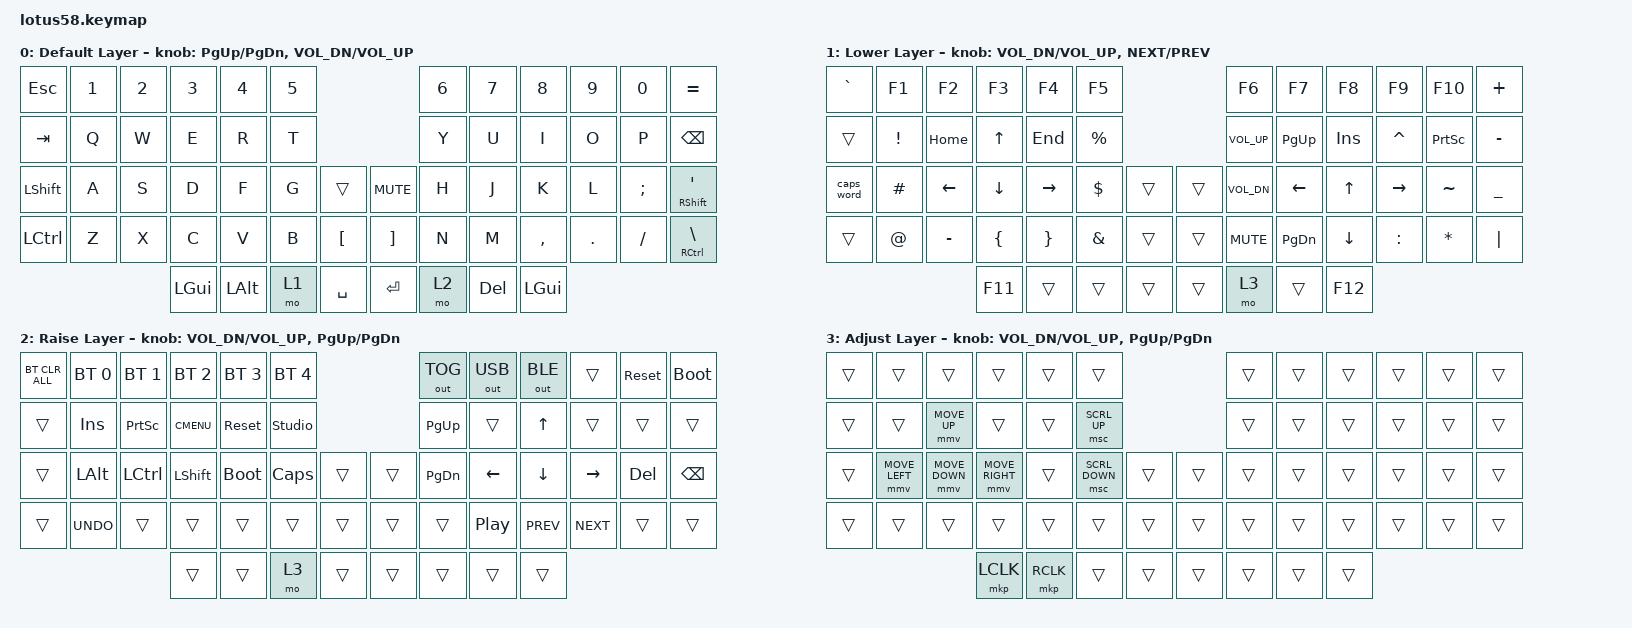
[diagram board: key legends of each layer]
/*
 * Copyright (c) 2022 The ZMK Contributors
 *
 * SPDX-License-Identifier: MIT
 */

#include <behaviors.dtsi>
#include <dt-bindings/zmk/bt.h>
#include <dt-bindings/zmk/keys.h>
#include <dt-bindings/zmk/outputs.h>
#include <dt-bindings/zmk/pointing.h>

#define default_layer 0
#define raise_layer 1
#define lower_layer 2
#define adjust_layer 3
#define extra_layer 4

/*
// Encoders

&sensors { triggers-per-rotation = <30>; };

&left_encoder { steps = <60>; };

&right_encoder { steps = <60>; };

*/
// To get to Adjust layer hold both Lower and Raise together.

/ {
    combos {
        compatible = "zmk,combos";

        combo_dsklg {
            timeout-ms = <100>;
            key-positions = <24 52>;
            layers = <0>;
            bindings = <&kp LGUI>;
        };
    };

    behaviors {
        fofunc: four_ffour {
            compatible = "zmk,behavior-mod-morph";
            #binding-cells = <0>;
            bindings = <&kp N4>, <&kp F4>;

            mods = <(MOD_LALT|MOD_RALT)>;
        };

        sleft: s_left {
            compatible = "zmk,behavior-mod-morph";
            #binding-cells = <0>;
            bindings = <&kp S>, <&kp LEFT>;

            mods = <(MOD_LGUI|MOD_RGUI)>;
        };

        fright: f_right {
            compatible = "zmk,behavior-mod-morph";
            #binding-cells = <0>;
            bindings = <&kp F>, <&kp RIGHT>;

            mods = <(MOD_LGUI|MOD_RGUI)>;
        };
    };

    keymap {
        compatible = "zmk,keymap";

        default_layer {
            display-name = "Default Layer";

            //   ------------------------------------------------------------------------------------------------------------
            //  0|  ESC  |  1  |  2  |  3   |  4   |  5   |                     |  6   |  7    |  8    |  9   |   0   |   =   | 11
            // 12|  TAB  |  Q  |  W  |  E   |  R   |  T   |                     |  Y   |  U    |  I    |  O   |   P   |   [   | 23
            // 24|  SFT  |  A  |  S  |  D   |  F   |  G   |  RESET  |  | RESET  |  H   |  J    |  K    |  L   |   ;   | ' SFT | 37
            // 38|  CTRL |  Z  |  X  |  C   |  V   |  B   |  MUTE   |  | PLAY   |  N   |  M    |  ,    |  .   |   /   | \ CTRL| 51
            // 52                    |ENT RS|  ALT | SPACE|DELETE LW|  |ENTER RS| BSPC |  ] LW | RGUI  |                        59

            bindings = <
&kp ESC    &kp N1  &kp N2  &kp N3    &kp N4    &kp N5                         &kp N6  &kp N7   &kp N8     &kp N9   &kp N0    &kp EQUAL
&kp TAB    &kp Q   &kp W   &kp E     &kp R     &kp T                          &kp Y   &kp U    &kp I      &kp O    &kp P     &kp BSPC
&kp LSHFT  &kp A   &kp S   &kp D     &kp F     &kp G   &trans     &kp C_MUTE  &kp H   &kp J    &kp K      &kp L    &kp SEMI  &mt RSHFT SQT
&kp LCTRL  &kp Z   &kp X   &kp C     &kp V     &kp B   &kp LBKT   &kp RBKT    &kp N   &kp M    &kp COMMA  &kp DOT  &kp FSLH  &mt RCTRL BSLH
                           &kp LGUI  &kp LALT  &mo 1   &kp SPACE  &kp RET     &mo 2   &kp DEL  &kp LGUI
            >;

            sensor-bindings = <&inc_dec_kp PG_UP PG_DN &inc_dec_kp C_VOL_DN C_VOL_UP>;
        };

        lower_layer {
            display-name = "Lower Layer";

            // ------------------------------------------------------------------------------------------------------------
            // | `     |  F1 |  F2 |  F3  |  F4  |  F5  |                   |  F6  |  F7   |  F8   |  F9  |  F10  |  F11  |
            // |       |  !  | HOME|   ^  |  END |  %   |                   | VOL^ |  PGUP |  INS  |  ^   |  PSCR |   -   |
            // |       |  #  |  <- |   v  | ->   |  $   |        |  |       | VOLv |    <- |   ^   |  ->  |   ~   |   _   |
            // |       |  @  |  -  |  (   |  )   |  &   |        |  |       | MUTE |  PGDN |   v   |  :   |   *   |   |   |
            //                     |  F11 |      |      |        |  |       |      |       |  F12  |

            bindings = <
&kp GRAVE   &kp F1    &kp F2     &kp F3    &kp F4     &kp F5                     &kp F6        &kp F7     &kp F8    &kp F9     &kp F10    &kp PLUS
&trans      &kp EXCL  &kp HOME   &kp UP    &kp END    &kp PRCNT                  &kp C_VOL_UP  &kp PG_UP  &kp INS   &kp CARET  &kp PSCRN  &kp MINUS
&caps_word  &kp HASH  &kp LEFT   &kp DOWN  &kp RIGHT  &kp DLLR   &trans  &trans  &kp C_VOL_DN  &kp LEFT   &kp UP    &kp RIGHT  &kp TILDE  &kp UNDER
&trans      &kp AT    &kp MINUS  &kp LBRC  &kp RBRC   &kp AMPS   &trans  &trans  &kp C_MUTE    &kp PG_DN  &kp DOWN  &kp COLON  &kp STAR   &kp PIPE
                                 &kp F11   &trans     &trans     &trans  &trans  &mo 3         &trans     &kp F12
            >;

            sensor-bindings = <&inc_dec_kp C_VOL_DN C_VOL_UP &inc_dec_kp C_NEXT C_PREV>;
        };

        raise_layer {
            display-name = "Raise Layer";

            // ------------------------------------------------------------------------------------------------------------
            // |BTCLR| BT1  | BT2  |  BT3  |  BT4  |  BT5 |                |OUTTOG|OUTUSB| OUTBT |      | RESET | FLASH |
            // |     | INS  | PSCR | GUI   | RESET |      |                | PGUP |      |   ^   |      |       |       |
            // |     | ALT  | CTRL | SHIFT | FLASH | CAPS |      |  |      | PGDN |   <- |   v   |  ->  |  DEL  | BSPC  |
            // |     | UNDO | CUT  | COPY  | PASTE |      |      |  |      |      |  |>  |  <|<| | |>|> |       |       |
            //                     |       |       |      |      |  |      |      |      |       |

            bindings = <
&bt BT_CLR_ALL  &bt BT_SEL 0  &bt BT_SEL 1  &bt BT_SEL 2  &bt BT_SEL 3  &bt BT_SEL 4                    &out OUT_TOG  &out OUT_USB  &out OUT_BLE  &trans      &sys_reset  &bootloader
&trans          &kp INS       &kp PSCRN     &kp K_CMENU   &sys_reset    &studio_unlock                  &kp PG_UP     &trans        &kp UP        &trans      &trans      &trans
&trans          &kp LALT      &kp LCTRL     &kp LSHFT     &bootloader   &kp CLCK        &trans  &trans  &kp PG_DN     &kp LEFT      &kp DOWN      &kp RIGHT   &kp DEL     &kp BSPC
&trans          &kp K_UNDO    &trans        &trans        &trans        &trans          &trans  &trans  &trans        &kp C_PP      &kp C_PREV    &kp C_NEXT  &trans      &trans
                                            &trans        &trans        &mo 3           &trans  &trans  &trans        &trans        &trans
            >;

            sensor-bindings = <&inc_dec_kp C_VOL_DN C_VOL_UP &inc_dec_kp PG_UP PG_DN>;
        };

        adjust_layer {
            display-name = "Adjust Layer";

            // ------------------------------------------------------------------------------------------------------------
            // |BTCLR| BT1  | BT2  |  BT3  |  BT4  |  BT5 |                |OUTTOG|OUTUSB| OUTBT |      | RESET | FLASH |
            // |     | INS  | PSCR | GUI   | RESET |      |                | PGUP |      |   ^   |      |       |       |
            // |     | ALT  | CTRL | SHIFT | FLASH | CAPS |      |  |      | PGDN |   <- |   v   |  ->  |  DEL  | BSPC  |
            // |     | UNDO | CUT  | COPY  | PASTE |      |      |  |      |      |  |>  |  <|<| | |>|> |       |       |
            //                     |       |       |      |      |  |      |      |      |       |

            bindings = <
&trans  &trans          &trans          &trans           &trans     &trans                          &trans  &trans  &trans  &trans  &trans  &trans
&trans  &trans          &mmv MOVE_UP    &trans           &trans     &msc SCRL_UP                    &trans  &trans  &trans  &trans  &trans  &trans
&trans  &mmv MOVE_LEFT  &mmv MOVE_DOWN  &mmv MOVE_RIGHT  &trans     &msc SCRL_DOWN  &trans  &trans  &trans  &trans  &trans  &trans  &trans  &trans
&trans  &trans          &trans          &trans           &trans     &trans          &trans  &trans  &trans  &trans  &trans  &trans  &trans  &trans
                                        &mkp LCLK        &mkp RCLK  &trans          &trans  &trans  &trans  &trans  &trans
            >;

            sensor-bindings = <&inc_dec_kp C_VOL_DN C_VOL_UP &inc_dec_kp PG_UP PG_DN>;
        };
    };

    extra_layer {
        display-name = "Extra Layer";

        // ------------------------------------------------------------------------------------------------------------
        // |BTCLR| BT1  | BT2  |  BT3  |  BT4  |  BT5 |                |OUTTOG|OUTUSB| OUTBT |      | RESET | FLASH |
        // |     | INS  | PSCR | GUI   | RESET |      |                | PGUP |      |   ^   |      |       |       |
        // |     | ALT  | CTRL | SHIFT | FLASH | CAPS |      |  |      | PGDN |   <- |   v   |  ->  |  DEL  | BSPC  |
        // |     | UNDO | CUT  | COPY  | PASTE |      |      |  |      |      |  |>  |  <|<| | |>|> |       |       |
        //                     |       |       |      |      |  |      |      |      |       |

        bindings = <
&trans &trans &trans &trans &trans &trans                    &trans  &trans  &trans  &trans     &trans  &trans
&trans &trans &mmv MOVE_UP &trans &trans &msc SCRL_UP                    &trans  &trans  &trans  &trans     &trans  &trans
&trans     &mmv MOVE_LEFT     &mmv MOVE_DOWN    &mmv MOVE_RIGHT    &trans  &msc SCRL_DOWN     &trans   &trans    &trans     &trans      &trans      &trans  &trans &trans
&trans     &trans   &trans    &trans   &trans  &trans       &trans   &trans    &trans        &trans      &trans    &trans &trans  &trans
                                     &mkp LCLK       &mkp RCLK       &trans       &trans   &trans    &trans        &trans        &trans
        >;

        sensor-bindings = <&inc_dec_kp C_VOL_DN C_VOL_UP &inc_dec_kp PG_UP PG_DN>;
    };
};
